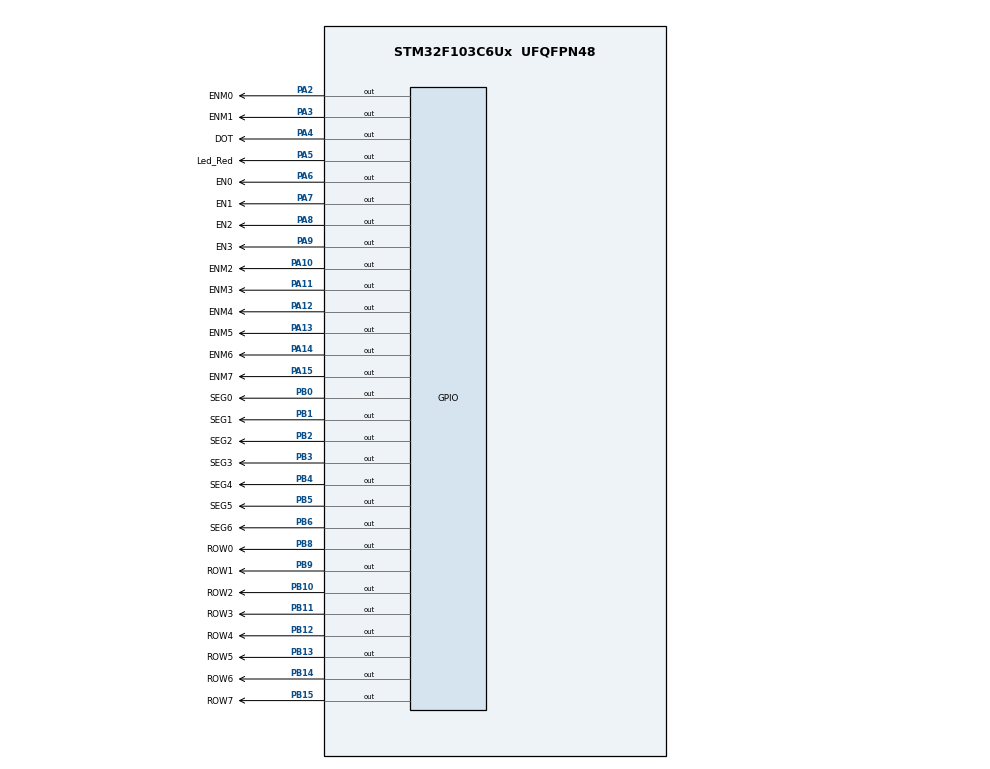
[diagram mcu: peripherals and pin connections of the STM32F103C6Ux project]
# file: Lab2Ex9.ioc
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Mcu.Family=STM32F1
Mcu.Name=STM32F103C6Ux
Mcu.Package=UFQFPN48
NVIC.PriorityGroup=NVIC_PRIORITYGROUP_4
NVIC.TIM2_IRQn=true\:0\:0\:false\:false\:true\:true\:true
PA10.GPIO_Label=ENM2
PA10.Signal=GPIO_Output
PA11.GPIO_Label=ENM3
PA11.Signal=GPIO_Output
PA12.GPIO_Label=ENM4
PA12.Signal=GPIO_Output
PA13.GPIO_Label=ENM5
PA13.Signal=GPIO_Output
PA14.GPIO_Label=ENM6
PA14.Signal=GPIO_Output
PA15.GPIO_Label=ENM7
PA15.Signal=GPIO_Output
PA2.GPIO_Label=ENM0
PA2.Signal=GPIO_Output
PA3.GPIO_Label=ENM1
PA3.Signal=GPIO_Output
PA4.GPIO_Label=DOT
PA4.Signal=GPIO_Output
PA5.GPIO_Label=Led_Red
PA5.Signal=GPIO_Output
PA6.GPIO_Label=EN0
PA6.Signal=GPIO_Output
PA7.GPIO_Label=EN1
PA7.Signal=GPIO_Output
PA8.GPIO_Label=EN2
PA8.Signal=GPIO_Output
PA9.GPIO_Label=EN3
PA9.Signal=GPIO_Output
PB0.GPIO_Label=SEG0
PB0.Signal=GPIO_Output
PB1.GPIO_Label=SEG1
PB1.Signal=GPIO_Output
PB10.GPIO_Label=ROW2
PB10.Signal=GPIO_Output
PB11.GPIO_Label=ROW3
PB11.Signal=GPIO_Output
PB12.GPIO_Label=ROW4
PB12.Signal=GPIO_Output
PB13.GPIO_Label=ROW5
PB13.Signal=GPIO_Output
PB14.GPIO_Label=ROW6
PB14.Signal=GPIO_Output
PB15.GPIO_Label=ROW7
PB15.Signal=GPIO_Output
PB2.GPIO_Label=SEG2
PB2.Signal=GPIO_Output
PB3.GPIO_Label=SEG3
PB3.Signal=GPIO_Output
PB4.GPIO_Label=SEG4
PB4.Signal=GPIO_Output
PB5.GPIO_Label=SEG5
PB5.Signal=GPIO_Output
PB6.GPIO_Label=SEG6
PB6.Signal=GPIO_Output
PB8.GPIO_Label=ROW0
PB8.Signal=GPIO_Output
PB9.GPIO_Label=ROW1
PB9.Signal=GPIO_Output
ProjectManager.HeapSize=0x200
ProjectManager.StackSize=0x400
ProjectManager.TargetToolchain=STM32CubeIDE
RCC.APB1Freq_Value=8000000
RCC.APB2Freq_Value=8000000
TIM2.Period=9
TIM2.Prescaler=7999
VP_SYS_VS_ND.Mode=No_Debug
VP_TIM2_VS_ClockSourceINT.Mode=Internal
board=custom

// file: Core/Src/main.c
/* USER CODE BEGIN Header */
/**
  ******************************************************************************
  * @file           : main.c
  * @brief          : Main program body
  ******************************************************************************
  * @attention
  *
  * <h2><center>&copy; Copyright (c) 2026 STMicroelectronics.
  * All rights reserved.</center></h2>
  *
  * This software component is licensed by ST under BSD 3-Clause license,
  * the "License"; You may not use this file except in compliance with the
  * License. You may obtain a copy of the License at:
  *                        opensource.org/licenses/BSD-3-Clause
  *
  ******************************************************************************
  */
/* USER CODE END Header */
#include "main.h"

TIM_HandleTypeDef htim2;

void SystemClock_Config(void);
static void MX_GPIO_Init(void);
static void MX_TIM2_Init(void);

/* USER CODE BEGIN 0 */
void display7SEG(int num)
{
    switch (num)
    {
    case 0:
        HAL_GPIO_WritePin(GPIOB, SEG0_Pin, GPIO_PIN_RESET);
        HAL_GPIO_WritePin(GPIOB, SEG1_Pin, GPIO_PIN_RESET);
        HAL_GPIO_WritePin(GPIOB, SEG2_Pin, GPIO_PIN_RESET);
        HAL_GPIO_WritePin(GPIOB, SEG3_Pin, GPIO_PIN_RESET);
        HAL_GPIO_WritePin(GPIOB, SEG4_Pin, GPIO_PIN_RESET);
        HAL_GPIO_WritePin(GPIOB, SEG5_Pin, GPIO_PIN_RESET);
        HAL_GPIO_WritePin(GPIOB, SEG6_Pin, GPIO_PIN_SET);
        break;

    case 1:
        HAL_GPIO_WritePin(GPIOB, SEG0_Pin, GPIO_PIN_SET);
        HAL_GPIO_WritePin(GPIOB, SEG1_Pin, GPIO_PIN_RESET);
        HAL_GPIO_WritePin(GPIOB, SEG2_Pin, GPIO_PIN_RESET);
        HAL_GPIO_WritePin(GPIOB, SEG3_Pin, GPIO_PIN_SET);
        HAL_GPIO_WritePin(GPIOB, SEG4_Pin, GPIO_PIN_SET);
        HAL_GPIO_WritePin(GPIOB, SEG5_Pin, GPIO_PIN_SET);
        HAL_GPIO_WritePin(GPIOB, SEG6_Pin, GPIO_PIN_SET);
        break;

    case 2:
        HAL_GPIO_WritePin(GPIOB, SEG0_Pin, GPIO_PIN_RESET);
        HAL_GPIO_WritePin(GPIOB, SEG1_Pin, GPIO_PIN_RESET);
        HAL_GPIO_WritePin(GPIOB, SEG2_Pin, GPIO_PIN_SET);
        HAL_GPIO_WritePin(GPIOB, SEG3_Pin, GPIO_PIN_RESET);
        HAL_GPIO_WritePin(GPIOB, SEG4_Pin, GPIO_PIN_RESET);
        HAL_GPIO_WritePin(GPIOB, SEG5_Pin, GPIO_PIN_SET);
        HAL_GPIO_WritePin(GPIOB, SEG6_Pin, GPIO_PIN_RESET);
        break;

    case 3:
        HAL_GPIO_WritePin(GPIOB, SEG0_Pin, GPIO_PIN_RESET);
        HAL_GPIO_WritePin(GPIOB, SEG1_Pin, GPIO_PIN_RESET);
        HAL_GPIO_WritePin(GPIOB, SEG2_Pin, GPIO_PIN_RESET);
        HAL_GPIO_WritePin(GPIOB, SEG3_Pin, GPIO_PIN_RESET);
        HAL_GPIO_WritePin(GPIOB, SEG4_Pin, GPIO_PIN_SET);
        HAL_GPIO_WritePin(GPIOB, SEG5_Pin, GPIO_PIN_SET);
        HAL_GPIO_WritePin(GPIOB, SEG6_Pin, GPIO_PIN_RESET);
        break;

    case 4:
        HAL_GPIO_WritePin(GPIOB, SEG0_Pin, GPIO_PIN_SET);
        HAL_GPIO_WritePin(GPIOB, SEG1_Pin, GPIO_PIN_RESET);
        HAL_GPIO_WritePin(GPIOB, SEG2_Pin, GPIO_PIN_RESET);
        HAL_GPIO_WritePin(GPIOB, SEG3_Pin, GPIO_PIN_SET);
        HAL_GPIO_WritePin(GPIOB, SEG4_Pin, GPIO_PIN_SET);
        HAL_GPIO_WritePin(GPIOB, SEG5_Pin, GPIO_PIN_RESET);
        HAL_GPIO_WritePin(GPIOB, SEG6_Pin, GPIO_PIN_RESET);
        break;

    case 5:
        HAL_GPIO_WritePin(GPIOB, SEG0_Pin, GPIO_PIN_RESET);
        HAL_GPIO_WritePin(GPIOB, SEG1_Pin, GPIO_PIN_SET);
        HAL_GPIO_WritePin(GPIOB, SEG2_Pin, GPIO_PIN_RESET);
        HAL_GPIO_WritePin(GPIOB, SEG3_Pin, GPIO_PIN_RESET);
        HAL_GPIO_WritePin(GPIOB, SEG4_Pin, GPIO_PIN_SET);
        HAL_GPIO_WritePin(GPIOB, SEG5_Pin, GPIO_PIN_RESET);
        HAL_GPIO_WritePin(GPIOB, SEG6_Pin, GPIO_PIN_RESET);
        break;

    case 6:
        HAL_GPIO_WritePin(GPIOB, SEG0_Pin, GPIO_PIN_RESET);
        HAL_GPIO_WritePin(GPIOB, SEG1_Pin, GPIO_PIN_SET);
        HAL_GPIO_WritePin(GPIOB, SEG2_Pin, GPIO_PIN_RESET);
        HAL_GPIO_WritePin(GPIOB, SEG3_Pin, GPIO_PIN_RESET);
        HAL_GPIO_WritePin(GPIOB, SEG4_Pin, GPIO_PIN_RESET);
        HAL_GPIO_WritePin(GPIOB, SEG5_Pin, GPIO_PIN_RESET);
        HAL_GPIO_WritePin(GPIOB, SEG6_Pin, GPIO_PIN_RESET);
        break;

    case 7:
        HAL_GPIO_WritePin(GPIOB, SEG0_Pin, GPIO_PIN_RESET);
        HAL_GPIO_WritePin(GPIOB, SEG1_Pin, GPIO_PIN_RESET);
        HAL_GPIO_WritePin(GPIOB, SEG2_Pin, GPIO_PIN_RESET);
        HAL_GPIO_WritePin(GPIOB, SEG3_Pin, GPIO_PIN_SET);
        HAL_GPIO_WritePin(GPIOB, SEG4_Pin, GPIO_PIN_SET);
        HAL_GPIO_WritePin(GPIOB, SEG5_Pin, GPIO_PIN_SET);
        HAL_GPIO_WritePin(GPIOB, SEG6_Pin, GPIO_PIN_SET);
        break;

    case 8:
        HAL_GPIO_WritePin(GPIOB, SEG0_Pin, GPIO_PIN_RESET);
        HAL_GPIO_WritePin(GPIOB, SEG1_Pin, GPIO_PIN_RESET);
        HAL_GPIO_WritePin(GPIOB, SEG2_Pin, GPIO_PIN_RESET);
        HAL_GPIO_WritePin(GPIOB, SEG3_Pin, GPIO_PIN_RESET);
        HAL_GPIO_WritePin(GPIOB, SEG4_Pin, GPIO_PIN_RESET);
        HAL_GPIO_WritePin(GPIOB, SEG5_Pin, GPIO_PIN_RESET);
        HAL_GPIO_WritePin(GPIOB, SEG6_Pin, GPIO_PIN_RESET);
        break;

    case 9:
        HAL_GPIO_WritePin(GPIOB, SEG0_Pin, GPIO_PIN_RESET);
        HAL_GPIO_WritePin(GPIOB, SEG1_Pin, GPIO_PIN_RESET);
        HAL_GPIO_WritePin(GPIOB, SEG2_Pin, GPIO_PIN_RESET);
        HAL_GPIO_WritePin(GPIOB, SEG3_Pin, GPIO_PIN_RESET);
        HAL_GPIO_WritePin(GPIOB, SEG4_Pin, GPIO_PIN_SET);
        HAL_GPIO_WritePin(GPIOB, SEG5_Pin, GPIO_PIN_RESET);
        HAL_GPIO_WritePin(GPIOB, SEG6_Pin, GPIO_PIN_RESET);
        break;
    }
}
const int MAX_LED = 4;

int index_led = 0;

int led_buffer[4] = {1, 2, 3, 4};
void update7SEG(int index)
{
    // Turn off all 4 displays first
    HAL_GPIO_WritePin(GPIOA, EN0_Pin, GPIO_PIN_SET);
    HAL_GPIO_WritePin(GPIOA, EN1_Pin, GPIO_PIN_SET);
    HAL_GPIO_WritePin(GPIOA, EN2_Pin, GPIO_PIN_SET);
    HAL_GPIO_WritePin(GPIOA, EN3_Pin, GPIO_PIN_SET);

    switch (index)
    {
        case 0:
            display7SEG(led_buffer[0]);
            HAL_GPIO_WritePin(GPIOA, EN0_Pin, GPIO_PIN_RESET);
            break;

        case 1:
            display7SEG(led_buffer[1]);
            HAL_GPIO_WritePin(GPIOA, EN1_Pin, GPIO_PIN_RESET);
            break;

        case 2:
            display7SEG(led_buffer[2]);
            HAL_GPIO_WritePin(GPIOA, EN2_Pin, GPIO_PIN_RESET);
            break;

        case 3:
            display7SEG(led_buffer[3]);
            HAL_GPIO_WritePin(GPIOA, EN3_Pin, GPIO_PIN_RESET);
            break;

        default:
            break;
    }
}

int hour = 15, minute = 8, second = 50;

void updateClockBuffer(void)
{
    led_buffer[0] = hour / 10;
    led_buffer[1] = hour % 10;
    led_buffer[2] = minute / 10;
    led_buffer[3] = minute % 10;
}

int timer0_counter = 0;
int timer0_flag = 0;
int TIMER_CYCLE = 10;

int timer1_counter = 0;
int timer1_flag = 0;

void setTimer0(int duration)
{
    timer0_counter = duration / TIMER_CYCLE;
    timer0_flag = 0;
}

void setTimer1(int duration)
{
    timer1_counter = duration / TIMER_CYCLE;
    timer1_flag = 0;
}
int timer2_counter = 0;
int timer2_flag = 0;
void setTimer2(int duration)
{
    timer2_counter = duration / TIMER_CYCLE;
    timer2_flag = 0;
}

void timer_run()
{
    if (timer0_counter > 0)
    {
        timer0_counter--;

        if (timer0_counter == 0)
            timer0_flag = 1;
    }

    if (timer1_counter > 0)
    {
        timer1_counter--;

        if (timer1_counter == 0)
            timer1_flag = 1;
    }
    if (timer2_counter > 0)
    {
        timer2_counter--;

        if (timer2_counter == 0)
            timer2_flag = 1;
    }
}
const int MAX_LED_MATRIX = 8;

int index_led_matrix = 0;

uint8_t matrix_buffer[8] = {
    0x18,
    0x24,
    0x42,
    0x7E,
    0x42,
    0x42,
    0x42,
    0x00
};

void updateLEDMatrix(int index)
{
    HAL_GPIO_WritePin(GPIOA, ENM0_Pin, GPIO_PIN_RESET);
    HAL_GPIO_WritePin(GPIOA, ENM1_Pin, GPIO_PIN_RESET);
    HAL_GPIO_WritePin(GPIOA, ENM2_Pin, GPIO_PIN_RESET);
    HAL_GPIO_WritePin(GPIOA, ENM3_Pin, GPIO_PIN_RESET);
    HAL_GPIO_WritePin(GPIOA, ENM4_Pin, GPIO_PIN_RESET);
    HAL_GPIO_WritePin(GPIOA, ENM5_Pin, GPIO_PIN_RESET);
    HAL_GPIO_WritePin(GPIOA, ENM6_Pin, GPIO_PIN_RESET);
    HAL_GPIO_WritePin(GPIOA, ENM7_Pin, GPIO_PIN_RESET);

    HAL_GPIO_WritePin(GPIOB, ROW0_Pin, (matrix_buffer[index] & 0x01) ? GPIO_PIN_SET : GPIO_PIN_RESET);
    HAL_GPIO_WritePin(GPIOB, ROW1_Pin, (matrix_buffer[index] & 0x02) ? GPIO_PIN_SET : GPIO_PIN_RESET);
    HAL_GPIO_WritePin(GPIOB, ROW2_Pin, (matrix_buffer[index] & 0x04) ? GPIO_PIN_SET : GPIO_PIN_RESET);
    HAL_GPIO_WritePin(GPIOB, ROW3_Pin, (matrix_buffer[index] & 0x08) ? GPIO_PIN_SET : GPIO_PIN_RESET);
    HAL_GPIO_WritePin(GPIOB, ROW4_Pin, (matrix_buffer[index] & 0x10) ? GPIO_PIN_SET : GPIO_PIN_RESET);
    HAL_GPIO_WritePin(GPIOB, ROW5_Pin, (matrix_buffer[index] & 0x20) ? GPIO_PIN_SET : GPIO_PIN_RESET);
    HAL_GPIO_WritePin(GPIOB, ROW6_Pin, (matrix_buffer[index] & 0x40) ? GPIO_PIN_SET : GPIO_PIN_RESET);
    HAL_GPIO_WritePin(GPIOB, ROW7_Pin, (matrix_buffer[index] & 0x80) ? GPIO_PIN_SET : GPIO_PIN_RESET);

    switch (index)
    {
        case 0:
            HAL_GPIO_WritePin(GPIOA, ENM0_Pin, GPIO_PIN_SET);
            break;

        case 1:
            HAL_GPIO_WritePin(GPIOA, ENM1_Pin, GPIO_PIN_SET);
            break;

        case 2:
            HAL_GPIO_WritePin(GPIOA, ENM2_Pin, GPIO_PIN_SET);
            break;

        case 3:
            HAL_GPIO_WritePin(GPIOA, ENM3_Pin, GPIO_PIN_SET);
            break;

        case 4:
            HAL_GPIO_WritePin(GPIOA, ENM4_Pin, GPIO_PIN_SET);
            break;

        case 5:
            HAL_GPIO_WritePin(GPIOA, ENM5_Pin, GPIO_PIN_SET);
            break;

        case 6:
            HAL_GPIO_WritePin(GPIOA, ENM6_Pin, GPIO_PIN_SET);
            break;

        case 7:
            HAL_GPIO_WritePin(GPIOA, ENM7_Pin, GPIO_PIN_SET);
            break;

        default:
            break;
    }
}

/* USER CODE END 0 */

int main(void)
{

  /* MCU Configuration--------------------------------------------------------*/

  /* Reset of all peripherals, Initializes the Flash interface and the Systick. */
  HAL_Init();

  /* Configure the system clock */
  SystemClock_Config();

  /* Initialize all configured peripherals */
  MX_GPIO_Init();
  MX_TIM2_Init();
  /* USER CODE BEGIN 2 */
  HAL_TIM_Base_Start_IT(&htim2);
  /* USER CODE END 2 */

  /* Infinite loop */
  /* USER CODE BEGIN WHILE */
  setTimer0(1000);
  setTimer1(250);
  setTimer2(10);

    while (1)
    {
        if (timer0_flag == 1)
        {
            second++;

            if (second >= 60)
            {
                second = 0;
                minute++;
            }

            if (minute >= 60)
            {
                minute = 0;
                hour++;
            }

            if (hour >= 24)
            {
                hour = 0;
            }

            updateClockBuffer();

            HAL_GPIO_TogglePin(GPIOA, DOT_Pin);

            setTimer0(1000);
        }

        if (timer1_flag == 1)
        {
            update7SEG(index_led++);

            if (index_led >= MAX_LED)
            {
                index_led = 0;
            }

            setTimer1(250);
        }
        if (timer2_flag == 1)
            {
                updateLEDMatrix(index_led_matrix++);

                if (index_led_matrix >= MAX_LED_MATRIX)
                {
                    index_led_matrix = 0;
                }

                setTimer2(10);
            }
    }
  /* USER CODE END 3 */
}

void SystemClock_Config(void)
{
  RCC_OscInitTypeDef RCC_OscInitStruct = {0};
  RCC_ClkInitTypeDef RCC_ClkInitStruct = {0};

  /** Initializes the RCC Oscillators according to the specified parameters
  * in the RCC_OscInitTypeDef structure.
  */
  RCC_OscInitStruct.OscillatorType = RCC_OSCILLATORTYPE_HSI;
  RCC_OscInitStruct.HSIState = RCC_HSI_ON;
  RCC_OscInitStruct.HSICalibrationValue = RCC_HSICALIBRATION_DEFAULT;
  RCC_OscInitStruct.PLL.PLLState = RCC_PLL_NONE;
  if (HAL_RCC_OscConfig(&RCC_OscInitStruct) != HAL_OK)
  {
    Error_Handler();
  }
  /** Initializes the CPU, AHB and APB buses clocks
  */
  RCC_ClkInitStruct.ClockType = RCC_CLOCKTYPE_HCLK|RCC_CLOCKTYPE_SYSCLK
                              |RCC_CLOCKTYPE_PCLK1|RCC_CLOCKTYPE_PCLK2;
  RCC_ClkInitStruct.SYSCLKSource = RCC_SYSCLKSOURCE_HSI;
  RCC_ClkInitStruct.AHBCLKDivider = RCC_SYSCLK_DIV1;
  RCC_ClkInitStruct.APB1CLKDivider = RCC_HCLK_DIV1;
  RCC_ClkInitStruct.APB2CLKDivider = RCC_HCLK_DIV1;

  if (HAL_RCC_ClockConfig(&RCC_ClkInitStruct, FLASH_LATENCY_0) != HAL_OK)
  {
    Error_Handler();
  }
}

static void MX_TIM2_Init(void)
{

  TIM_ClockConfigTypeDef sClockSourceConfig = {0};
  TIM_MasterConfigTypeDef sMasterConfig = {0};

  htim2.Instance = TIM2;
  htim2.Init.Prescaler = 7999;
  htim2.Init.CounterMode = TIM_COUNTERMODE_UP;
  htim2.Init.Period = 9;
  htim2.Init.ClockDivision = TIM_CLOCKDIVISION_DIV1;
  htim2.Init.AutoReloadPreload = TIM_AUTORELOAD_PRELOAD_DISABLE;
  if (HAL_TIM_Base_Init(&htim2) != HAL_OK)
  {
    Error_Handler();
  }
  sClockSourceConfig.ClockSource = TIM_CLOCKSOURCE_INTERNAL;
  if (HAL_TIM_ConfigClockSource(&htim2, &sClockSourceConfig) != HAL_OK)
  {
    Error_Handler();
  }
  sMasterConfig.MasterOutputTrigger = TIM_TRGO_RESET;
  sMasterConfig.MasterSlaveMode = TIM_MASTERSLAVEMODE_DISABLE;
  if (HAL_TIMEx_MasterConfigSynchronization(&htim2, &sMasterConfig) != HAL_OK)
  {
    Error_Handler();
  }

}

static void MX_GPIO_Init(void)
{
  GPIO_InitTypeDef GPIO_InitStruct = {0};

  /* GPIO Ports Clock Enable */
  __HAL_RCC_GPIOA_CLK_ENABLE();
  __HAL_RCC_GPIOB_CLK_ENABLE();

  /*Configure GPIO pin Output Level */
  HAL_GPIO_WritePin(GPIOA, ENM0_Pin|ENM1_Pin|DOT_Pin|Led_Red_Pin
                          |EN0_Pin|EN1_Pin|EN2_Pin|EN3_Pin
                          |ENM2_Pin|ENM3_Pin|ENM4_Pin|ENM5_Pin
                          |ENM6_Pin|ENM7_Pin, GPIO_PIN_RESET);

  /*Configure GPIO pin Output Level */
  HAL_GPIO_WritePin(GPIOB, SEG0_Pin|SEG1_Pin|SEG2_Pin|ROW2_Pin
                          |ROW3_Pin|ROW4_Pin|ROW5_Pin|ROW6_Pin
                          |ROW7_Pin|SEG3_Pin|SEG4_Pin|SEG5_Pin
                          |SEG6_Pin|ROW0_Pin|ROW1_Pin, GPIO_PIN_RESET);

  /*Configure GPIO pins : ENM0_Pin ENM1_Pin DOT_Pin Led_Red_Pin
                           EN0_Pin EN1_Pin EN2_Pin EN3_Pin
                           ENM2_Pin ENM3_Pin ENM4_Pin ENM5_Pin
                           ENM6_Pin ENM7_Pin */
  GPIO_InitStruct.Pin = ENM0_Pin|ENM1_Pin|DOT_Pin|Led_Red_Pin
                          |EN0_Pin|EN1_Pin|EN2_Pin|EN3_Pin
                          |ENM2_Pin|ENM3_Pin|ENM4_Pin|ENM5_Pin
                          |ENM6_Pin|ENM7_Pin;
  GPIO_InitStruct.Mode = GPIO_MODE_OUTPUT_PP;
  GPIO_InitStruct.Pull = GPIO_NOPULL;
  GPIO_InitStruct.Speed = GPIO_SPEED_FREQ_LOW;
  HAL_GPIO_Init(GPIOA, &GPIO_InitStruct);

  /*Configure GPIO pins : SEG0_Pin SEG1_Pin SEG2_Pin ROW2_Pin
                           ROW3_Pin ROW4_Pin ROW5_Pin ROW6_Pin
                           ROW7_Pin SEG3_Pin SEG4_Pin SEG5_Pin
                           SEG6_Pin ROW0_Pin ROW1_Pin */
  GPIO_InitStruct.Pin = SEG0_Pin|SEG1_Pin|SEG2_Pin|ROW2_Pin
                          |ROW3_Pin|ROW4_Pin|ROW5_Pin|ROW6_Pin
                          |ROW7_Pin|SEG3_Pin|SEG4_Pin|SEG5_Pin
                          |SEG6_Pin|ROW0_Pin|ROW1_Pin;
  GPIO_InitStruct.Mode = GPIO_MODE_OUTPUT_PP;
  GPIO_InitStruct.Pull = GPIO_NOPULL;
  GPIO_InitStruct.Speed = GPIO_SPEED_FREQ_LOW;
  HAL_GPIO_Init(GPIOB, &GPIO_InitStruct);

}

/* USER CODE BEGIN 4 */
void HAL_TIM_PeriodElapsedCallback(TIM_HandleTypeDef *htim)
{
    timer_run();
}
/* USER CODE END 4 */

void Error_Handler(void)
{
  __disable_irq();
  while (1)
  {
  }
}

/************************ (C) COPYRIGHT STMicroelectronics *****END OF FILE****/
